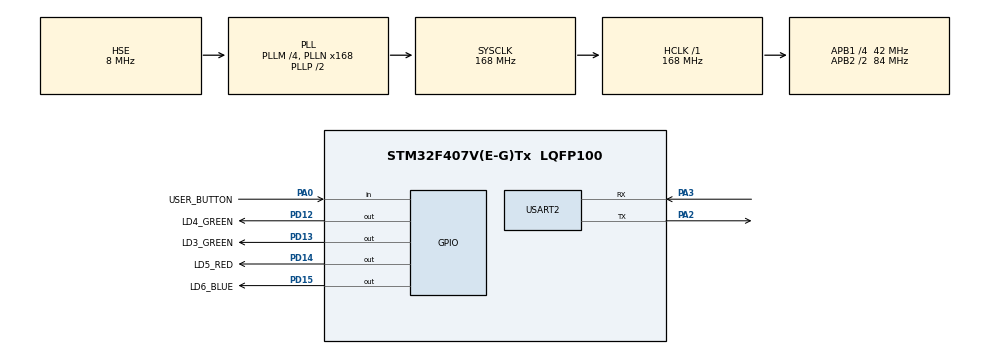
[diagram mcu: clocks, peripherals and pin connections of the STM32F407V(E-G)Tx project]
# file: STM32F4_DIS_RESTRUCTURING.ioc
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FREERTOS.Tasks01=defaultTask,0,128,StartDefaultTask,Default,NULL,Dynamic,NULL,NULL
Mcu.Family=STM32F4
Mcu.Name=STM32F407V(E-G)Tx
Mcu.Package=LQFP100
NVIC.PriorityGroup=NVIC_PRIORITYGROUP_4
NVIC.TIM6_DAC_IRQn=true\:0\:0\:false\:false\:true\:false\:false\:true
NVIC.TimeBase=TIM6_DAC_IRQn
NVIC.TimeBaseIP=TIM6
NVIC.USART2_IRQn=true\:0\:0\:false\:false\:true\:false\:true\:true
PA0-WKUP.GPIO_Label=USER_BUTTON
PA0-WKUP.Signal=GPIO_Input
PA2.Mode=Asynchronous
PA2.Signal=USART2_TX
PA3.Mode=Asynchronous
PA3.Signal=USART2_RX
PD12.GPIO_Label=LD4_GREEN
PD12.Signal=GPIO_Output
PD13.GPIO_Label=LD3_GREEN
PD13.Signal=GPIO_Output
PD14.GPIO_Label=LD5_RED
PD14.Signal=GPIO_Output
PD15.GPIO_Label=LD6_BLUE
PD15.Signal=GPIO_Output
PH0-OSC_IN.Mode=HSE-External-Oscillator
PH0-OSC_IN.Signal=RCC_OSC_IN
PH1-OSC_OUT.Mode=HSE-External-Oscillator
PH1-OSC_OUT.Signal=RCC_OSC_OUT
ProjectManager.HeapSize=0x200
ProjectManager.StackSize=0x400
ProjectManager.TargetToolchain=STM32CubeIDE
RCC.48MHZClocksFreq_Value=84000000
RCC.AHBFreq_Value=168000000
RCC.APB1CLKDivider=RCC_HCLK_DIV4
RCC.APB1Freq_Value=42000000
RCC.APB1TimFreq_Value=84000000
RCC.APB2CLKDivider=RCC_HCLK_DIV2
RCC.APB2Freq_Value=84000000
RCC.APB2TimFreq_Value=168000000
RCC.CortexFreq_Value=168000000
RCC.HCLKFreq_Value=168000000
RCC.HSE_VALUE=8000000
RCC.HSI_VALUE=16000000
RCC.LSE_VALUE=32768
RCC.PLLM=4
RCC.PLLN=168
RCC.PLLSourceVirtual=RCC_PLLSOURCE_HSE
RCC.SYSCLKFreq_VALUE=168000000
RCC.SYSCLKSource=RCC_SYSCLKSOURCE_PLLCLK
RCC.VCOOutputFreq_Value=336000000
USART2.VirtualMode=VM_ASYNC
VP_FREERTOS_VS_CMSIS_V1.Mode=CMSIS_V1
VP_SYS_VS_tim6.Mode=TIM6
board=custom

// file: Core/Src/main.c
/* USER CODE BEGIN Header */
/**
 ******************************************************************************
 * @file           : main.c
 * @brief          : Main program body
 ******************************************************************************
 * @attention
 *
 * <h2><center>&copy; Copyright (c) 2020 STMicroelectronics.
 * All rights reserved.</center></h2>
 *
 * This software component is licensed by ST under BSD 3-Clause license,
 * the "License"; You may not use this file except in compliance with the
 * License. You may obtain a copy of the License at:
 *                        opensource.org/licenses/BSD-3-Clause
 *
 ******************************************************************************
 */
/* USER CODE END Header */
#include "main.h"
#include "cmsis_os.h"

/* USER CODE BEGIN Includes */
#include "FreeRTOS.h"
#include "task.h"
#include "timers.h"
#include "queue.h"
#include "semphr.h"
#include "event_groups.h"

#include "string.h"
#include "stdio.h"

/* USER CODE END Includes */

UART_HandleTypeDef huart2;

osThreadId defaultTaskHandle;

void SystemClock_Config(void);
static void MX_GPIO_Init(void);
static void MX_USART2_UART_Init(void);
void StartDefaultTask(void const * argument);

/* USER CODE BEGIN 0 */
int _write(int file, char *ptr, int len) {
	int n;

	for (n = 0; n < len; n++) {
		uint8_t ch = *ptr++;
		HAL_UART_Transmit(&huart2, &ch, 1, HAL_MAX_DELAY);
	}
	return n;
}

/******************** TASK HANDLERS *****************************/
xTaskHandle Sender_HPT_Handler;
xTaskHandle Sender_LPT_Handler;
xTaskHandle Receiver_Handler;

/****************************** UART DATA ************************/
uint8_t Rx_Data;

/******************** QUEUE HANDLER *****************************/
xQueueHandle SimpleQueue;

/******************** TASK FUNCTIONS *****************************/
void Sender_HPT_Task(void *argument);
void Sender_LPT_Task(void *argument);
void Receiver_Task(void *argument);

/* USER CODE END 0 */

int main(void)
{

  /* MCU Configuration--------------------------------------------------------*/

  /* Reset of all peripherals, Initializes the Flash interface and the Systick. */
  HAL_Init();

  /* Configure the system clock */
  SystemClock_Config();

  /* Initialize all configured peripherals */
  MX_GPIO_Init();
  MX_USART2_UART_Init();
  /* USER CODE BEGIN 2 */

	HAL_UART_Receive_IT(&huart2, &Rx_Data, 1);

	printf("Hello!!!!!\n");
  /* USER CODE END 2 */

	vTraceEnable(TRC_INIT);

	/* USER CODE BEGIN RTOS_QUEUES */
	SimpleQueue= xQueueCreate(5, sizeof(int));

	if(SimpleQueue == 0) // Queue not created
	{
		printf("Unable to create Integer Queue\n\n");
	} else  {
		printf("Integer Queue Created successfully\n\n");
	}

	/* USER CODE END RTOS_QUEUES */
	/*************************** TASK RELATED ********************************/
	xTaskCreate(Sender_HPT_Task, "HPT_SEND", 128, NULL, 3, &Sender_HPT_Handler);
	xTaskCreate(Sender_LPT_Task, "LPT_SEND", 128, (void*) 111, 2, &Sender_LPT_Handler);
	xTaskCreate(Receiver_Task, "RECEIVER_SEND", 128, NULL, 1, &Receiver_Handler);

	/* USER CODE END RTOS_THREADS */

	/* Start scheduler */
	vTaskStartScheduler();

  /* Start scheduler */
  osKernelStart();

  /* We should never get here as control is now taken by the scheduler */
  /* Infinite loop */
	while (1) {

	}
}

void SystemClock_Config(void)
{
  RCC_OscInitTypeDef RCC_OscInitStruct = {0};
  RCC_ClkInitTypeDef RCC_ClkInitStruct = {0};

  /** Configure the main internal regulator output voltage
  */
  __HAL_RCC_PWR_CLK_ENABLE();
  __HAL_PWR_VOLTAGESCALING_CONFIG(PWR_REGULATOR_VOLTAGE_SCALE1);
  /** Initializes the RCC Oscillators according to the specified parameters
  * in the RCC_OscInitTypeDef structure.
  */
  RCC_OscInitStruct.OscillatorType = RCC_OSCILLATORTYPE_HSE;
  RCC_OscInitStruct.HSEState = RCC_HSE_ON;
  RCC_OscInitStruct.PLL.PLLState = RCC_PLL_ON;
  RCC_OscInitStruct.PLL.PLLSource = RCC_PLLSOURCE_HSE;
  RCC_OscInitStruct.PLL.PLLM = 4;
  RCC_OscInitStruct.PLL.PLLN = 168;
  RCC_OscInitStruct.PLL.PLLP = RCC_PLLP_DIV2;
  RCC_OscInitStruct.PLL.PLLQ = 4;
  if (HAL_RCC_OscConfig(&RCC_OscInitStruct) != HAL_OK)
  {
    Error_Handler();
  }
  /** Initializes the CPU, AHB and APB buses clocks
  */
  RCC_ClkInitStruct.ClockType = RCC_CLOCKTYPE_HCLK|RCC_CLOCKTYPE_SYSCLK
                              |RCC_CLOCKTYPE_PCLK1|RCC_CLOCKTYPE_PCLK2;
  RCC_ClkInitStruct.SYSCLKSource = RCC_SYSCLKSOURCE_PLLCLK;
  RCC_ClkInitStruct.AHBCLKDivider = RCC_SYSCLK_DIV1;
  RCC_ClkInitStruct.APB1CLKDivider = RCC_HCLK_DIV4;
  RCC_ClkInitStruct.APB2CLKDivider = RCC_HCLK_DIV2;

  if (HAL_RCC_ClockConfig(&RCC_ClkInitStruct, FLASH_LATENCY_5) != HAL_OK)
  {
    Error_Handler();
  }
}

static void MX_USART2_UART_Init(void)
{

  huart2.Instance = USART2;
  huart2.Init.BaudRate = 115200;
  huart2.Init.WordLength = UART_WORDLENGTH_8B;
  huart2.Init.StopBits = UART_STOPBITS_1;
  huart2.Init.Parity = UART_PARITY_NONE;
  huart2.Init.Mode = UART_MODE_TX_RX;
  huart2.Init.HwFlowCtl = UART_HWCONTROL_NONE;
  huart2.Init.OverSampling = UART_OVERSAMPLING_16;
  if (HAL_UART_Init(&huart2) != HAL_OK)
  {
    Error_Handler();
  }

}

static void MX_GPIO_Init(void)
{
  GPIO_InitTypeDef GPIO_InitStruct = {0};

  /* GPIO Ports Clock Enable */
  __HAL_RCC_GPIOH_CLK_ENABLE();
  __HAL_RCC_GPIOA_CLK_ENABLE();
  __HAL_RCC_GPIOD_CLK_ENABLE();

  /*Configure GPIO pin Output Level */
  HAL_GPIO_WritePin(GPIOD, LD4_GREEN_Pin|LD3_GREEN_Pin|LD5_RED_Pin|LD6_BLUE_Pin, GPIO_PIN_RESET);

  /*Configure GPIO pin : USER_BUTTON_Pin */
  GPIO_InitStruct.Pin = USER_BUTTON_Pin;
  GPIO_InitStruct.Mode = GPIO_MODE_INPUT;
  GPIO_InitStruct.Pull = GPIO_NOPULL;
  HAL_GPIO_Init(USER_BUTTON_GPIO_Port, &GPIO_InitStruct);

  /*Configure GPIO pins : LD4_GREEN_Pin LD3_GREEN_Pin LD5_RED_Pin LD6_BLUE_Pin */
  GPIO_InitStruct.Pin = LD4_GREEN_Pin|LD3_GREEN_Pin|LD5_RED_Pin|LD6_BLUE_Pin;
  GPIO_InitStruct.Mode = GPIO_MODE_OUTPUT_PP;
  GPIO_InitStruct.Pull = GPIO_NOPULL;
  GPIO_InitStruct.Speed = GPIO_SPEED_FREQ_LOW;
  HAL_GPIO_Init(GPIOD, &GPIO_InitStruct);

}

/* USER CODE BEGIN 4 */

void Sender_HPT_Task(void *argument)
{
	int  i = 222;
	uint32_t TickDelay = pdMS_TO_TICKS(2000);
	while(1)
	{
		printf("Entered SENDER_HPT Task\n about to SEND a number to the queue\n\n");

		if(xQueueSend(SimpleQueue, &i, portMAX_DELAY) == pdPASS)
		{
			printf("Successfully sent the number to the queue\nLeaving SENDER_HPT Task\n\n\n");
		}

		vTaskDelay(TickDelay);
	}
}

void Sender_LPT_Task(void *argument)
{
	int  ToSend;
	uint32_t TickDelay = pdMS_TO_TICKS(1000);
	while(1)
	{
		ToSend = (int)argument;

		printf("Entered SENDER_LPT Task\n about to SEND a number to the queue\n\n");

		if(xQueueSend(SimpleQueue, &ToSend, portMAX_DELAY) == pdPASS)
		{
			printf("Successfully sent the number to the queue\nLeaving SENDER_LPT Task\n\n\n");
		}

		vTaskDelay(TickDelay);
	}
}

void Receiver_Task(void *argument)
{
	int received = 0;

	uint32_t TickDelay = pdMS_TO_TICKS(400);

	while(1)
	{
		printf("Entered RECEIVER Task\n about to RECEIVER a number from the queue\n\n");

		if(xQueueReceive(SimpleQueue, &received, portMAX_DELAY) != pdTRUE)
		{
			printf("ERROR in Receiving from QUEUE\n\n");
		}
		else
		{
			printf("Successfully RECEIVED the number %d to the queue\nLeaving RECEIVER Task\n\n\n", received);
		}

		vTaskDelay(TickDelay);
	}
}

/**
  * @brief  Rx Transfer completed callbacks.
  * @param  huart  Pointer to a UART_HandleTypeDef structure that contains
  *                the configuration information for the specified UART module.
  * @retval None
  */
void HAL_UART_RxCpltCallback(UART_HandleTypeDef *huart)
{
	HAL_UART_Receive_IT(huart, &Rx_Data, 1);
	/* We have not woken a task at the start of the ISR*/
	BaseType_t xHigherPriorityTaskWoken = pdFALSE;

	/*
	 * @param xQueue The handle to the queue on which the item is to be posted.
	 *
	 * @param pvItemToQueue A pointer to the item that is to be placed on the
	 * queue.  The size of the items the queue will hold was defined when the
	 * queue was created, so this many bytes will be copied from pvItemToQueue
	 * into the queue storage area.
	 *
	 * @param pxHigherPriorityTaskWoken xQueueSendFromISR() will set
	 * *pxHigherPriorityTaskWoken to pdTRUE if sending to the queue caused a task
	 * to unblock, and the unblocked task has a priority higher than the currently
	 * running task.  If xQueueSendFromISR() sets this value to pdTRUE then
	 * a context switch should be requested before the interrupt is exited.
	 *
	 * @return pdTRUE if the data was successfully sent to the queue, otherwise
	 * errQUEUE_FULL.
	 * */
	if(xQueueSendToFrontFromISR(SimpleQueue, &Rx_Data , &xHigherPriorityTaskWoken) == pdPASS)
	{
		printf("Send from ISR\n\n");
	}

	/*
	 * Pass the xHigherPriorityTaskWoken value into portEND_SWITCHING_ISR(). If
	 * xHigherPriorityTaskWoken was set to pdTRUE inside xQueueSendFromISR
	 * then calling portEND_SWITCHING_ISR() will request a context switch. If
	 * xHigherPriorityTaskWoken is still pdFALSE then calling
	 * portEND_SWITCHING_ISR() will have no effect
	 * */
	if(xHigherPriorityTaskWoken)
	{
		portEND_SWITCHING_ISR(xHigherPriorityTaskWoken);
	}
}

/* USER CODE END 4 */

void StartDefaultTask(void const * argument)
{
  for(;;)
  {
    osDelay(1);
  }
}

void HAL_TIM_PeriodElapsedCallback(TIM_HandleTypeDef *htim)
{
  if (htim->Instance == TIM6) {
    HAL_IncTick();
  }
}

void Error_Handler(void)
{
}

/************************ (C) COPYRIGHT STMicroelectronics *****END OF FILE****/
